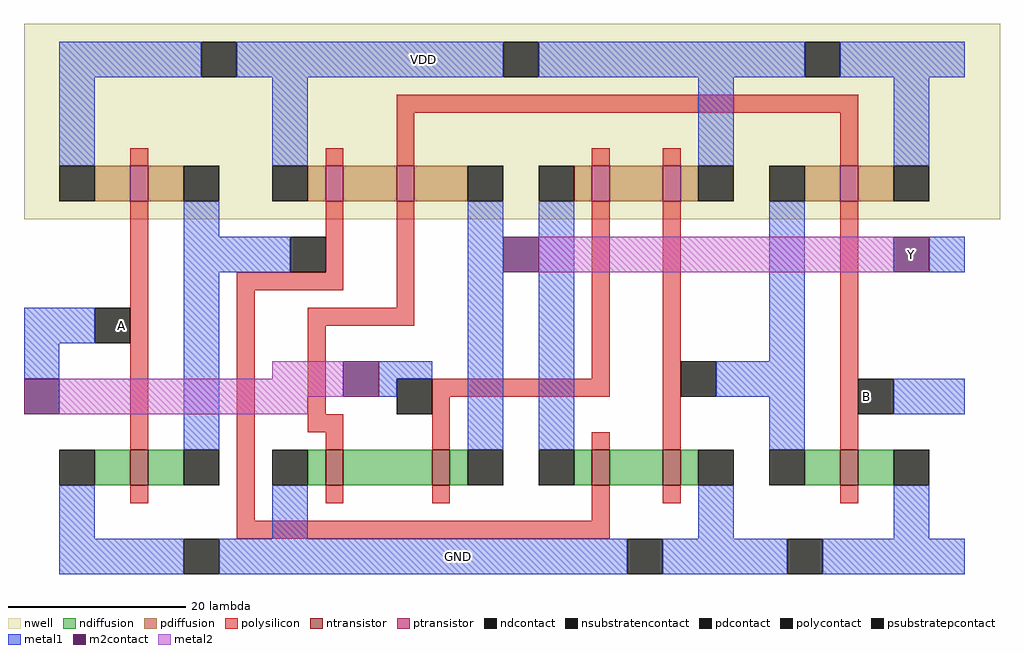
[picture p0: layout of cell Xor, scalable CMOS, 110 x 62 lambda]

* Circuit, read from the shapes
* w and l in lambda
.subckt Xor A B GND VDD Y
M1 n1 A GND GND nfet w=4 l=2
M2 n2 B GND GND nfet w=4 l=2
M3 Y A n2 GND nfet w=4 l=2
M4 n3 n1 Y GND nfet w=4 l=2
M5 GND n4 n3 GND nfet w=4 l=2
M6 GND B n4 GND nfet w=4 l=2
M7 n1 A VDD VDD pfet w=4 l=2
M8 n5 n1 VDD VDD pfet w=4 l=2
M9 Y B n5 VDD pfet w=4 l=2
M10 n6 A Y VDD pfet w=4 l=2
M11 VDD n4 n6 VDD pfet w=4 l=2
M12 VDD B n4 VDD pfet w=4 l=2
.ends

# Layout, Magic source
magic
tech scmos
<< nwell >>
rect -40 8 70 30
<< polysilicon >>
rect 2 20 54 22
rect -28 14 -26 16
rect -6 14 -4 16
rect 2 14 4 20
rect 24 14 26 16
rect 32 14 34 16
rect 52 14 54 20
rect -28 -18 -26 10
rect -6 2 -4 10
rect -16 0 -4 2
rect -28 -24 -26 -22
rect -16 -26 -14 0
rect 2 -2 4 10
rect -8 -4 4 -2
rect -8 -14 -6 -4
rect 24 -10 26 10
rect 6 -12 26 -10
rect -8 -16 -4 -14
rect -6 -18 -4 -16
rect 6 -18 8 -12
rect 24 -18 26 -16
rect 32 -18 34 10
rect 52 -18 54 10
rect -6 -24 -4 -22
rect 6 -24 8 -22
rect 24 -26 26 -22
rect 32 -24 34 -22
rect 52 -24 54 -22
rect -16 -28 26 -26
<< ndiffusion >>
rect -32 -22 -28 -18
rect -26 -22 -22 -18
rect -8 -22 -6 -18
rect -4 -22 6 -18
rect 8 -22 10 -18
rect 22 -22 24 -18
rect 26 -22 32 -18
rect 34 -22 36 -18
rect 48 -22 52 -18
rect 54 -22 58 -18
<< pdiffusion >>
rect -32 10 -28 14
rect -26 10 -22 14
rect -8 10 -6 14
rect -4 10 2 14
rect 4 10 10 14
rect 22 10 24 14
rect 26 10 32 14
rect 34 10 36 14
rect 48 10 52 14
rect 54 10 58 14
<< metal1 >>
rect -36 24 -20 28
rect -16 24 14 28
rect 18 24 48 28
rect 52 24 66 28
rect -36 14 -32 24
rect -12 14 -8 24
rect 36 14 40 24
rect 58 14 62 24
rect -22 6 -18 10
rect -22 2 -10 6
rect -40 -6 -32 -2
rect -40 -10 -36 -6
rect -22 -18 -18 2
rect 0 -10 6 -8
rect 0 -12 2 -10
rect 10 -18 14 10
rect 18 -18 22 10
rect 44 -8 48 10
rect 62 2 66 6
rect 38 -12 48 -8
rect 44 -18 48 -12
rect 58 -14 66 -10
rect -36 -28 -32 -22
rect -12 -28 -8 -22
rect 36 -28 40 -22
rect 58 -28 62 -22
rect -36 -32 -22 -28
rect -18 -32 28 -28
rect 32 -32 46 -28
rect 50 -32 66 -28
<< metal2 >>
rect 18 2 58 6
rect -12 -10 -4 -8
rect -36 -12 -4 -10
rect -36 -14 -8 -12
<< ntransistor >>
rect -28 -22 -26 -18
rect -6 -22 -4 -18
rect 6 -22 8 -18
rect 24 -22 26 -18
rect 32 -22 34 -18
rect 52 -22 54 -18
<< ptransistor >>
rect -28 10 -26 14
rect -6 10 -4 14
rect 2 10 4 14
rect 24 10 26 14
rect 32 10 34 14
rect 52 10 54 14
<< polycontact >>
rect -32 -6 -28 -2
rect -10 2 -6 6
rect 2 -14 6 -10
rect 34 -12 38 -8
rect 54 -14 58 -10
<< ndcontact >>
rect -36 -22 -32 -18
rect -22 -22 -18 -18
rect -12 -22 -8 -18
rect 10 -22 14 -18
rect 18 -22 22 -18
rect 36 -22 40 -18
rect 44 -22 48 -18
rect 58 -22 62 -18
<< pdcontact >>
rect -36 10 -32 14
rect -22 10 -18 14
rect -12 10 -8 14
rect 10 10 14 14
rect 18 10 22 14
rect 36 10 40 14
rect 44 10 48 14
rect 58 10 62 14
<< m2contact >>
rect -40 -14 -36 -10
rect -4 -12 0 -8
rect 14 2 18 6
rect 58 2 62 6
<< psubstratepcontact >>
rect -22 -32 -18 -28
rect 28 -32 32 -28
rect 46 -32 50 -28
<< nsubstratencontact >>
rect -20 24 -16 28
rect 14 24 18 28
rect 48 24 52 28
<< labels >>
rlabel polycontact -30 -5 -28 -3 1 A
rlabel polycontact 54 -13 56 -11 1 B
rlabel m2contact 59 3 61 5 1 Y
rlabel metal1 4 25 6 27 5 VDD
rlabel metal1 8 -31 10 -29 1 GND
<< end >>
